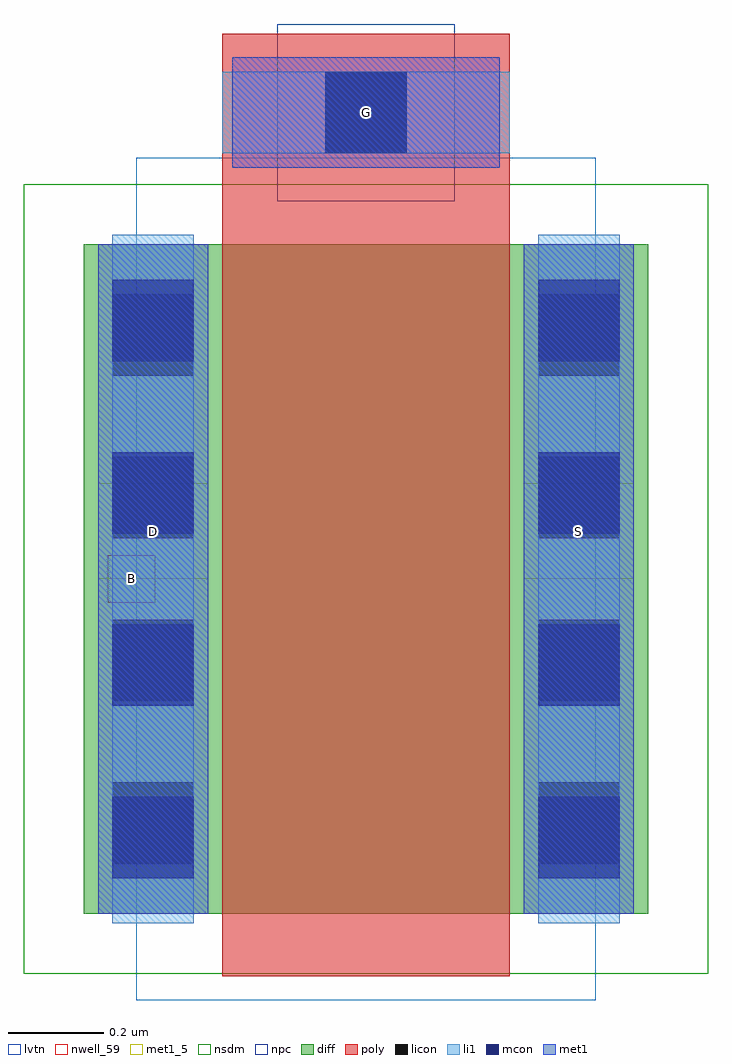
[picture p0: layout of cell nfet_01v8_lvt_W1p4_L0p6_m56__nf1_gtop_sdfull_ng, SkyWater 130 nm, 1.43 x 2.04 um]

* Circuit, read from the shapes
.subckt nfet_01v8_lvt_W1p4_L0p6_m56__nf1_gtop_sdfull_ng B D G S
XM1 S G D B sky130_fd_pr__nfet_01v8_lvt w=1.4 l=0.6
.ends

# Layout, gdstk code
import gdstk
lib = gdstk.Library(unit=1e-6, precision=1e-09)
def R(c, l, rs):  # rectangles x0, y0, x1, y1
    for r in rs: c.add(gdstk.rectangle(r[:2], r[2:], *l))
def A(c, l, x, y, w, h, nx, ny, dx, dy):  # array of equal rectangles
    R(c, l, [(x+i*dx, y+j*dy, x+i*dx+w, y+j*dy+h) for i in range(nx) for j in range(ny)])
nwell_59 = (64, 59)
diff = (65, 20)
poly = (66, 20)
licon = (66, 44)
li1 = (67, 20)
mcon = (67, 44)
met1_5 = (68, 5)
met1 = (68, 20)
nsdm = (93, 44)
npc = (95, 20)
lvtn = (125, 44)

sky130_fd_pr__nfet_01v8_ = lib.new_cell('sky130_fd_pr__nfet_01v8_lvt_RUA5M6')
R(sky130_fd_pr__nfet_01v8_, diff, [(-0.59,-0.855,0.59,0.545)])
R(sky130_fd_pr__nfet_01v8_, poly, [(-0.3,-0.985,0.3,0.985)])
A(sky130_fd_pr__nfet_01v8_, licon, -0.53, -0.75, 0.17, 0.17, 1, 4, 0, 0.34)
A(sky130_fd_pr__nfet_01v8_, licon, 0.36, -0.75, 0.17, 0.17, 1, 4, 0, 0.34)
R(sky130_fd_pr__nfet_01v8_, licon, [(-0.085,0.735,0.085,0.905)])
R(sky130_fd_pr__nfet_01v8_, li1, [(-0.53,-0.875,-0.36,0.565), (0.36,-0.875,0.53,0.565), (-0.3,0.735,0.3,0.905)])
A(sky130_fd_pr__nfet_01v8_, mcon, -0.53, -0.78, 0.17, 0.17, 1, 4, 0, 0.36)
A(sky130_fd_pr__nfet_01v8_, mcon, 0.36, -0.78, 0.17, 0.17, 1, 4, 0, 0.36)
R(sky130_fd_pr__nfet_01v8_, mcon, [(-0.085,0.735,0.085,0.905)])
R(sky130_fd_pr__nfet_01v8_, met1, [(-0.56,-0.855,-0.33,0.545), (0.33,-0.855,0.56,0.545), (-0.28,0.705,0.28,0.935)])
R(sky130_fd_pr__nfet_01v8_, nsdm, [(-0.715,-0.98,0.715,0.67)])
R(sky130_fd_pr__nfet_01v8_, npc, [(-0.185,0.635,0.185,1.005)])
R(sky130_fd_pr__nfet_01v8_, lvtn, [(-0.48,-1.035,0.48,0.725)])
sky130_fd_pr__nfet_01v8_.add(gdstk.Label('D', (-0.445,-0.155), layer=67, texttype=5))
sky130_fd_pr__nfet_01v8_.add(gdstk.Label('S', (0.445,-0.155), layer=67, texttype=5))
sky130_fd_pr__nfet_01v8_.add(gdstk.Label('G', (0,0.82), layer=67, texttype=5))

nfet_01v8_lvt_w1p4_l0p6_ = lib.new_cell('nfet_01v8_lvt_W1p4_L0p6_m56__nf1_gtop_sdfull_ng')
R(nfet_01v8_lvt_w1p4_l0p6_, nwell_59, [(0.05,0.78,0.15,0.88)])
R(nfet_01v8_lvt_w1p4_l0p6_, met1_5, [(0.03,0.83,0.26,1.03), (0.92,0.83,1.15,1.03), (0.31,1.69,0.87,1.92)])
R(nfet_01v8_lvt_w1p4_l0p6_, met1, [(0.03,0.83,0.26,1.03), (0.92,0.83,1.15,1.03), (0.31,1.69,0.87,1.92)])
nfet_01v8_lvt_w1p4_l0p6_.add(gdstk.Reference(sky130_fd_pr__nfet_01v8_, (0.59,0.985)))
nfet_01v8_lvt_w1p4_l0p6_.add(gdstk.Label('D', (0.145,0.93), layer=68, texttype=5))
nfet_01v8_lvt_w1p4_l0p6_.add(gdstk.Label('S', (1.035,0.93), layer=68, texttype=5))
nfet_01v8_lvt_w1p4_l0p6_.add(gdstk.Label('G', (0.59,1.805), layer=68, texttype=5))
nfet_01v8_lvt_w1p4_l0p6_.add(gdstk.Label('B', (0.1,0.83), layer=64, texttype=59))

lib.write_gds('nfet_01v8_lvt_W1p4_L0p6_m56__nf1_gtop_sdfull_ng.gds')
